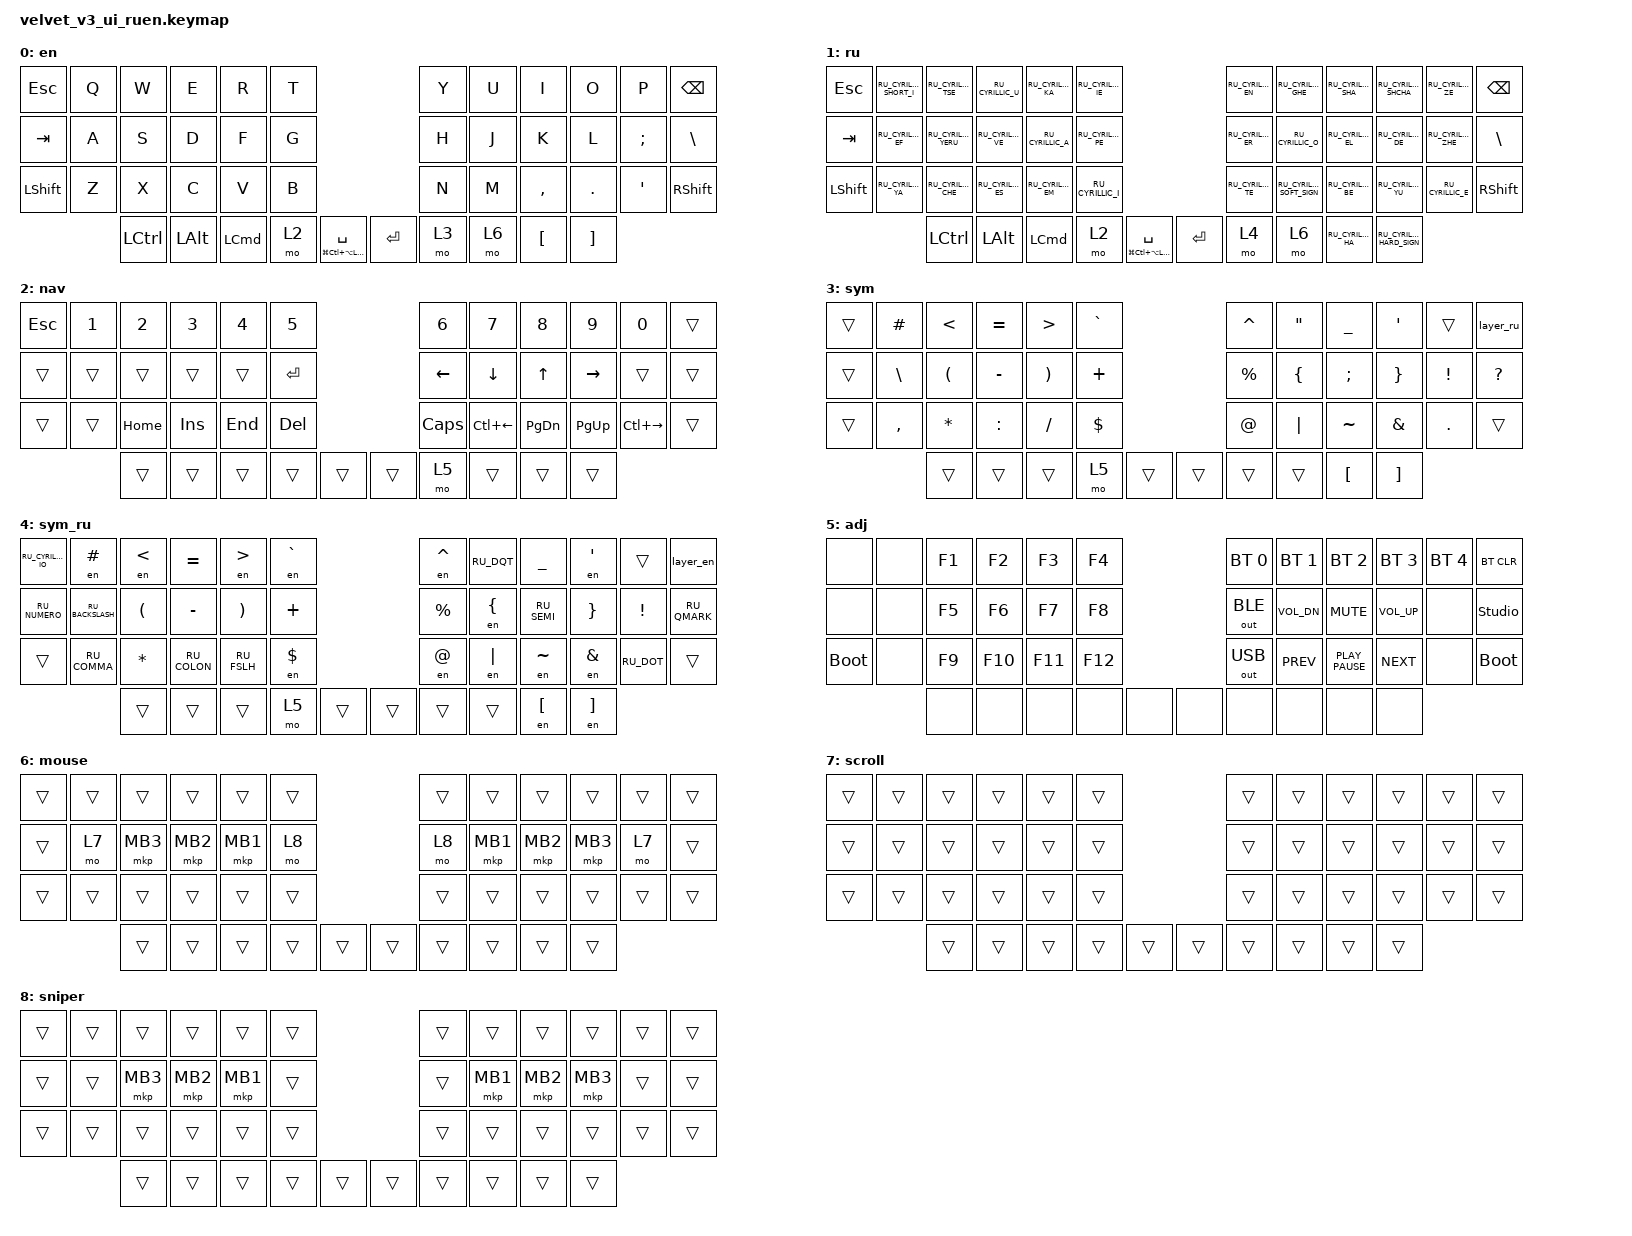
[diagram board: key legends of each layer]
#include "keys_ru.h"
#include <dt-bindings/zmk/input_transform.h>
#include <input/processors.dtsi>
#include <zephyr/dt-bindings/input/input-event-codes.h>
#include <behaviors.dtsi>
#include <dt-bindings/zmk/bt.h>
#include <dt-bindings/zmk/keys.h>
#include <dt-bindings/zmk/outputs.h>
#include <dt-bindings/zmk/pointing.h>

/ {
    behaviors {
        cap_sen: cap_sen {
            compatible = "zmk,behavior-hold-tap";
            label = "CAP_SEN";
            bindings = <&mo>, <&mkp>;

            #binding-cells = <2>;
            tapping-term-ms = <150>;
            hold-while-undecided;
        };
    };

    combos { compatible = "zmk,combos"; };

    macros {
        to_ru: to_ru {
            compatible = "zmk,behavior-macro";
            #binding-cells = <0>;
            bindings = <&kp F17>;
            label = "TO_RU";
        };

        to_en: to_en {
            compatible = "zmk,behavior-macro";
            #binding-cells = <0>;
            bindings = <&kp F16>;
            label = "TO_EN";
        };

        layer_en: layer_en {
            compatible = "zmk,behavior-macro";
            #binding-cells = <0>;
            bindings = <&to 0 &to_en>;
            label = "LAYER_EN";
        };

        layer_ru: layer_ru {
            compatible = "zmk,behavior-macro";
            #binding-cells = <0>;
            bindings = <&to 1 &to_ru>;
            label = "LAYER_RU";
        };

        en: en {
            compatible = "zmk,behavior-macro-one-param";
            #binding-cells = <1>;
            bindings =
                <&to_en &macro_param_1to1 &kp MACRO_PLACEHOLDER>,
                <&macro_wait_time 10>,
                <&to_ru>,
                <&macro_wait_time 10>;

            label = "EN";
        };

        switch_lang: switch_lang {
            compatible = "zmk,behavior-macro";
            #binding-cells = <0>;
            bindings = <&none>;
            label = "SWITCH_LANG";
        };
    };

    keymap {
        compatible = "zmk,keymap";

        en {
            bindings = <
&kp ESC    &kp Q  &kp W      &kp E         &kp R             &kp T                                          &kp Y  &kp U  &kp I      &kp O     &kp P     &kp BSPC
&kp TAB    &kp A  &kp S      &kp D         &kp F             &kp G                                          &kp H  &kp J  &kp K      &kp L     &kp SEMI  &kp BSLH
&kp LSHFT  &kp Z  &kp X      &kp C         &kp V             &kp B                                          &kp N  &kp M  &kp COMMA  &kp DOT   &kp SQT   &kp RSHFT
                  &kp LCTRL  &kp LEFT_ALT  &kp LEFT_COMMAND  &mo 2  &mt LG(LC(LA(LSHFT))) SPACE    &kp RET  &mo 3  &mo 6  &kp LBKT   &kp RBKT
            >;

            display-name = "en";
        };

        ru {
            display-name = "ru";
            bindings = <
&kp ESC    &kp RU_CYRILLIC_SHORT_I  &kp RU_CYRILLIC_TSE   &kp RU_CYRILLIC_U   &kp RU_CYRILLIC_KA  &kp RU_CYRILLIC_IE                                          &kp RU_CYRILLIC_EN  &kp RU_CYRILLIC_GHE        &kp RU_CYRILLIC_SHA  &kp RU_CYRILLIC_SHCHA      &kp RU_CYRILLIC_ZE   &kp BSPC
&kp TAB    &kp RU_CYRILLIC_EF       &kp RU_CYRILLIC_YERU  &kp RU_CYRILLIC_VE  &kp RU_CYRILLIC_A   &kp RU_CYRILLIC_PE                                          &kp RU_CYRILLIC_ER  &kp RU_CYRILLIC_O          &kp RU_CYRILLIC_EL   &kp RU_CYRILLIC_DE         &kp RU_CYRILLIC_ZHE  &kp BSLH
&kp LSHFT  &kp RU_CYRILLIC_YA       &kp RU_CYRILLIC_CHE   &kp RU_CYRILLIC_ES  &kp RU_CYRILLIC_EM  &kp RU_CYRILLIC_I                                           &kp RU_CYRILLIC_TE  &kp RU_CYRILLIC_SOFT_SIGN  &kp RU_CYRILLIC_BE   &kp RU_CYRILLIC_YU         &kp RU_CYRILLIC_E    &kp RSHFT
                                    &kp LCTRL             &kp LALT            &kp LEFT_COMMAND    &mo 2               &mt LG(LC(LA(LSHFT))) SPACE    &kp RET  &mo 4               &mo 6                      &kp RU_CYRILLIC_HA   &kp RU_CYRILLIC_HARD_SIGN
            >;
        };

        nav {
            bindings = <
&kp ESC  &kp N1  &kp N2    &kp N3   &kp N4   &kp N5                     &kp N6          &kp N7          &kp N8         &kp N9       &kp N0         &trans
&trans   &trans  &trans    &trans   &trans   &kp RET                    &kp LEFT_ARROW  &kp DOWN_ARROW  &kp UP_ARROW   &kp RIGHT    &trans         &trans
&trans   &trans  &kp HOME  &kp INS  &kp END  &kp DEL                    &kp CLCK        &kp LC(LEFT)    &kp PAGE_DOWN  &kp PAGE_UP  &kp LC(RIGHT)  &trans
                 &trans    &trans   &trans   &trans   &trans    &trans  &mo 5           &trans          &trans         &trans
            >;

            display-name = "nav";
        };

        sym {
            bindings = <
&trans  &kp HASH   &kp LT    &kp EQUAL  &kp GT    &kp GRAVE                    &kp CARET  &kp DQT   &kp UNDER  &kp SQT   &trans    &layer_ru
&trans  &kp BSLH   &kp LPAR  &kp MINUS  &kp RPAR  &kp PLUS                     &kp PRCNT  &kp LBRC  &kp SEMI   &kp RBRC  &kp EXCL  &kp QUESTION
&trans  &kp COMMA  &kp STAR  &kp COLON  &kp FSLH  &kp DLLR                     &kp AT     &kp PIPE  &kp TILDE  &kp AMPS  &kp DOT   &trans
                   &trans    &trans     &trans    &mo 5      &trans    &trans  &trans     &trans    &kp LBKT   &kp RBKT
            >;

            display-name = "sym";
        };

        sym_ru {
            display-name = "sym_ru";
            bindings = <
&kp RU_CYRILLIC_IO  &en HASH          &en LT    &kp EQUAL     &en GT       &en GRAVE                    &en CARET  &kp RU_DQT  &kp UNDER    &en SQT   &trans      &layer_en
&kp RU_NUMERO       &kp RU_BACKSLASH  &kp LPAR  &kp MINUS     &kp RPAR     &kp PLUS                     &kp PRCNT  &en LBRC    &kp RU_SEMI  &kp RBRC  &kp EXCL    &kp RU_QMARK
&trans              &kp RU_COMMA      &kp STAR  &kp RU_COLON  &kp RU_FSLH  &en DLLR                     &en AT     &en PIPE    &en TILDE    &en AMPS  &kp RU_DOT  &trans
                                      &trans    &trans        &trans       &mo 5      &trans    &trans  &trans     &trans      &en LBKT     &en RBKT
            >;
        };

        adj {
            bindings = <
&none        &none  &kp F1  &kp F2   &kp F3   &kp F4                   &bt BT_SEL 0  &bt BT_SEL 1  &bt BT_SEL 2      &bt BT_SEL 3  &bt BT_SEL 4  &bt BT_CLR
&none        &none  &kp F5  &kp F6   &kp F7   &kp F8                   &out OUT_BLE  &kp C_VOL_DN  &kp K_MUTE        &kp C_VOL_UP  &none         &studio_unlock
&bootloader  &none  &kp F9  &kp F10  &kp F11  &kp F12                  &out OUT_USB  &kp K_PREV    &kp K_PLAY_PAUSE  &kp K_NEXT    &none         &bootloader
                    &none   &none    &none    &none    &none    &none  &none         &none         &none             &none
            >;

            display-name = "adj";
        };

        mouse {
            bindings = <
&trans  &trans  &trans    &trans    &trans    &trans                    &trans  &trans    &trans    &trans    &trans  &trans
&trans  &mo 7   &mkp MB3  &mkp MB2  &mkp MB1  &mo 8                     &mo 8   &mkp MB1  &mkp MB2  &mkp MB3  &mo 7   &trans
&trans  &trans  &trans    &trans    &trans    &trans                    &trans  &trans    &trans    &trans    &trans  &trans
                &trans    &trans    &trans    &trans  &trans    &trans  &trans  &trans    &trans    &trans
            >;
        };

        scroll {
            bindings = <
&trans  &trans  &trans  &trans  &trans  &trans                    &trans  &trans  &trans  &trans  &trans  &trans
&trans  &trans  &trans  &trans  &trans  &trans                    &trans  &trans  &trans  &trans  &trans  &trans
&trans  &trans  &trans  &trans  &trans  &trans                    &trans  &trans  &trans  &trans  &trans  &trans
                &trans  &trans  &trans  &trans  &trans    &trans  &trans  &trans  &trans  &trans
            >;
        };

        sniper {
            bindings = <
&trans  &trans  &trans    &trans    &trans    &trans                    &trans  &trans    &trans    &trans    &trans  &trans
&trans  &trans  &mkp MB3  &mkp MB2  &mkp MB1  &trans                    &trans  &mkp MB1  &mkp MB2  &mkp MB3  &trans  &trans
&trans  &trans  &trans    &trans    &trans    &trans                    &trans  &trans    &trans    &trans    &trans  &trans
                &trans    &trans    &trans    &trans  &trans    &trans  &trans  &trans    &trans    &trans
            >;
        };
    };
};

&trackball { cpi = <1000>; };

&trackball_listener {
    input-processors = <&zip_xy_scaler 9 20>;

    scroller {
        layers = <7>;
        input-processors =
            <&zip_xy_transform INPUT_TRANSFORM_Y_INVERT>,
            <&zip_xy_scaler 1 32>,
            <&zip_xy_to_scroll_mapper>;
    };

    sniper {
        layers = <8>;
        input-processors = <&zip_xy_scaler 1 4>;
    };
};
